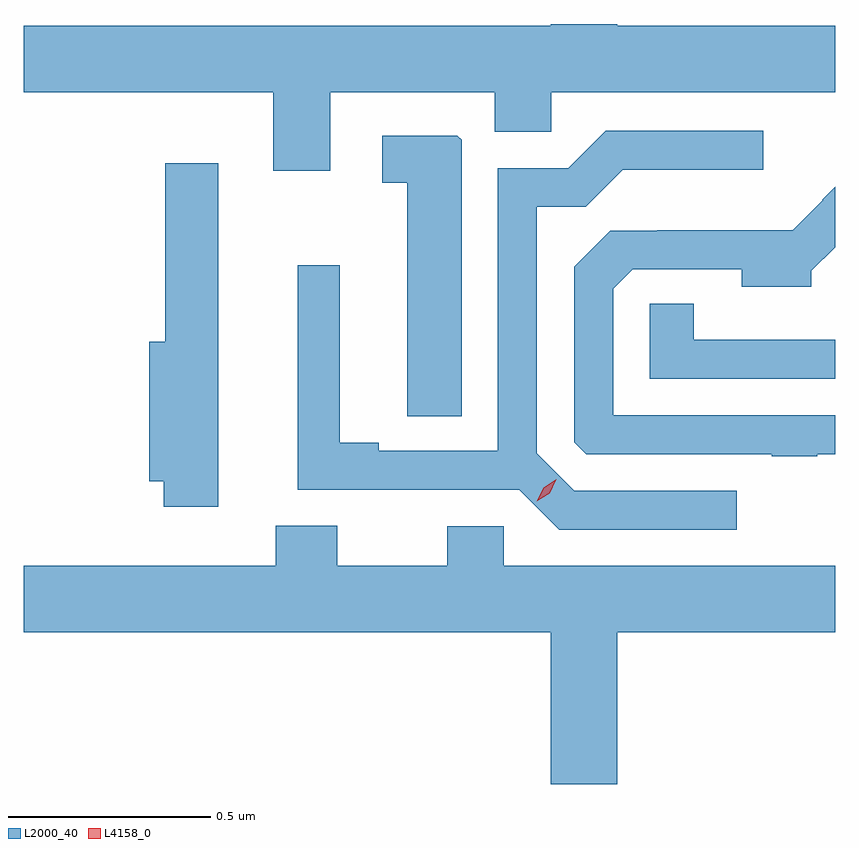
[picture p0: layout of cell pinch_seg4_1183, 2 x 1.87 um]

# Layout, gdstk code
import gdstk
lib = gdstk.Library(unit=1e-6, precision=1e-09)
def P(c, l, *ps):  # polygons
    for p in ps: c.add(gdstk.Polygon(p, *l))
L2000_40 = (2000, 40)
L4158_0 = (4158, 0)

pinch_seg4_1183 = lib.new_cell('pinch_seg4_1183')
P(pinch_seg4_1183, L2000_40, [(440.188,755.528),(440.594,755.528),(440.594,755.43),(440.733,755.43),(440.733,755.528),(441.433,755.528),(441.433,755.692),(440.896,755.692),(440.896,755.696),(440.732,755.696),(440.732,755.692),(439.433,755.692),(439.433,755.528),(440.048,755.528),(440.048,755.334),(440.188,755.334)],
  [(441.19,754.545),(440.79,754.545),(440.697,754.638),(440.697,755.245),(440.818,755.245),(440.909,755.336),(441.256,755.336),(441.256,755.433),(440.868,755.433),(440.775,755.34),(440.601,755.34),(440.601,754.644),(440.308,754.644),(440.308,754.664),(440.212,754.664),(440.212,755.101),(440.108,755.101),(440.108,754.548),(440.654,754.548),(440.753,754.449),(441.19,754.449)],
  [(440.512,755.411),(440.502,755.421),(440.316,755.421),(440.316,755.305),(440.378,755.305),(440.378,754.729),(440.512,754.729)],
  [(439.912,755.353),(439.781,755.353),(439.781,754.912),(439.742,754.912),(439.742,754.568),(439.778,754.568),(439.778,754.506),(439.912,754.506)],
  [(441.389,754.635),(441.433,754.635),(441.433,754.731),(440.886,754.731),(440.886,755.043),(440.934,755.091),(441.203,755.091),(441.203,755.048),(441.374,755.048),(441.374,755.088),(441.433,755.146),(441.433,755.295),(441.401,755.263),(441.403,755.261),(441.329,755.188),(440.995,755.188),(440.995,755.186),(440.879,755.186),(440.79,755.097),(440.79,754.665),(440.82,754.635),(441.277,754.635),(441.277,754.63),(441.389,754.63)],
  [(441.433,754.917),(441.339,754.917),(441.339,754.918),(441.085,754.918),(441.085,755.006),(440.976,755.006),(440.976,754.821),(441.433,754.821)],
  [(440.896,754.196),(441.433,754.196),(441.433,754.36),(440.616,754.36),(440.616,754.458),(440.477,754.458),(440.477,754.36),(440.206,754.36),(440.206,754.459),(440.054,754.459),(440.054,754.36),(439.433,754.36),(439.433,754.196),(440.732,754.196),(440.732,753.822),(440.896,753.822)])
P(pinch_seg4_1183, L4158_0, [(440.698,754.519),(440.698,754.519),(440.715,754.553),(440.746,754.573),(440.746,754.573),(440.746,754.573),(440.73,754.539),(440.698,754.519)])

lib.write_gds('pinch_seg4_1183.gds')
